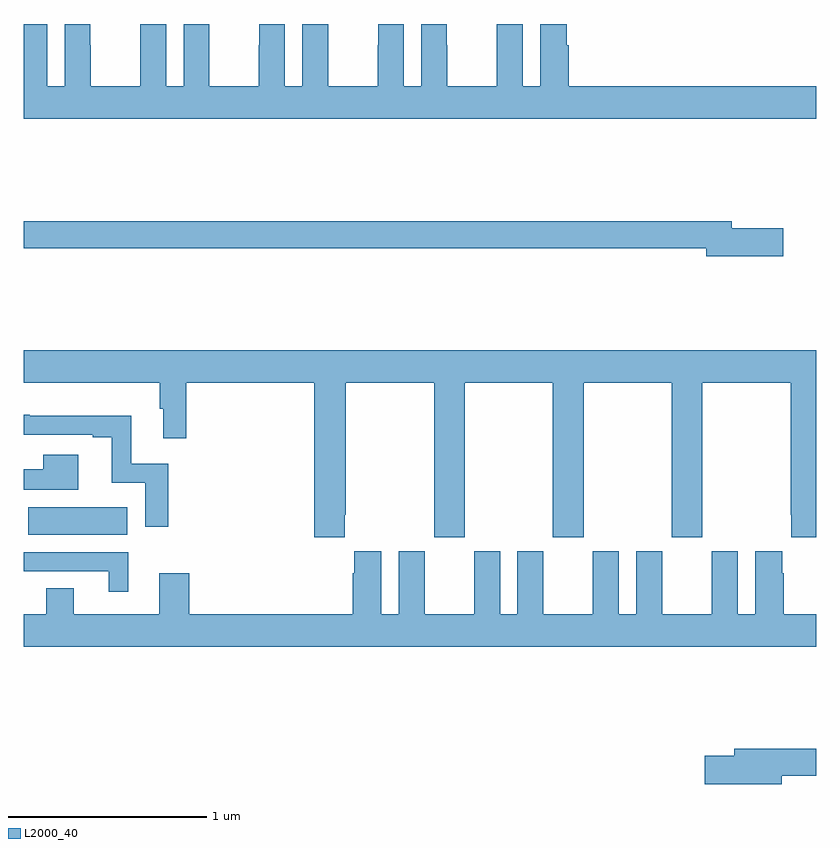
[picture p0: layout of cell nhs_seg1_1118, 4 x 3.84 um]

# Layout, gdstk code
import gdstk
lib = gdstk.Library(unit=1e-6, precision=1e-09)
def R(c, l, rs):  # rectangles x0, y0, x1, y1
    for r in rs: c.add(gdstk.rectangle(r[:2], r[2:], *l))
def P(c, l, *ps):  # polygons
    for p in ps: c.add(gdstk.Polygon(p, *l))
L2000_40 = (2000, 40)

nhs_seg1_1118 = lib.new_cell('nhs_seg1_1118')
R(nhs_seg1_1118, L2000_40, [(171.022,561.62,171.523,561.76)])
P(nhs_seg1_1118, L2000_40, [(173.606,564.199),(173.606,563.884),(173.518,563.884),(173.518,564.199),(173.388,564.199),(173.388,564.092),(173.387,564.092),(173.387,563.884),(173.137,563.884),(173.137,564.092),(173.136,564.092),(173.136,564.199),(173.006,564.199),(173.006,563.884),(172.918,563.884),(172.918,564.199),(172.788,564.199),(172.788,564.092),(172.787,564.092),(172.787,563.884),(172.537,563.884),(172.537,564.092),(172.536,564.092),(172.536,564.199),(172.406,564.199),(172.406,563.884),(172.318,563.884),(172.318,564.199),(172.188,564.199),(172.188,564.092),(172.187,564.092),(172.187,563.884),(171.937,563.884),(171.937,564.092),(171.936,564.092),(171.936,564.199),(171.806,564.199),(171.806,563.884),(171.718,563.884),(171.718,564.199),(171.588,564.199),(171.588,564.092),(171.587,564.092),(171.587,563.884),(171.337,563.884),(171.337,564.092),(171.336,564.092),(171.336,564.199),(171.206,564.199),(171.206,563.884),(171.118,563.884),(171.118,564.199),(171,564.199),(171,563.72),(175,563.72),(175,563.884),(173.75,563.884),(173.75,564.092),(173.74,564.092),(173.74,564.199)],
  [(174.835,563.168),(174.574,563.168),(174.574,563.204),(171,563.204),(171,563.068),(174.446,563.068),(174.446,563.026),(174.835,563.026)],
  [(172.621,561.721),(172.626,561.721),(172.626,562.388),(173.071,562.388),(173.071,561.609),(173.226,561.609),(173.226,562.388),(173.671,562.388),(173.671,561.609),(173.826,561.609),(173.826,562.388),(174.271,562.388),(174.271,561.609),(174.426,561.609),(174.426,562.388),(174.871,562.388),(174.871,561.721),(174.875,561.721),(174.875,561.609),(175,561.609),(175,562.552),(171,562.552),(171,562.388),(171.685,562.388),(171.685,562.256),(171.704,562.256),(171.704,562.107),(171.821,562.107),(171.821,562.388),(172.466,562.388),(172.466,561.609),(172.621,561.609)],
  [(171.728,561.978),(171.541,561.978),(171.541,562.222),(171.029,562.222),(171.029,562.225),(171,562.225),(171,562.125),(171.347,562.125),(171.347,562.113),(171.443,562.113),(171.443,561.882),(171.612,561.882),(171.612,561.66),(171.728,561.66)],
  [(171.274,562.024),(171.098,562.024),(171.098,561.952),(171,561.952),(171,561.848),(171.274,561.848)],
  [(175,561.22),(174.836,561.22),(174.836,561.425),(174.829,561.425),(174.829,561.538),(174.692,561.538),(174.692,561.22),(174.604,561.22),(174.604,561.538),(174.473,561.538),(174.473,561.22),(174.223,561.22),(174.223,561.538),(174.092,561.538),(174.092,561.22),(174.004,561.22),(174.004,561.538),(173.873,561.538),(173.873,561.22),(173.623,561.22),(173.623,561.538),(173.492,561.538),(173.492,561.22),(173.404,561.22),(173.404,561.538),(173.273,561.538),(173.273,561.22),(173.023,561.22),(173.023,561.538),(172.892,561.538),(172.892,561.22),(172.804,561.22),(172.804,561.538),(172.667,561.538),(172.667,561.425),(172.661,561.425),(172.661,561.22),(171.836,561.22),(171.836,561.427),(171.683,561.427),(171.683,561.22),(171.253,561.22),(171.253,561.35),(171.113,561.35),(171.113,561.22),(171,561.22),(171,561.056),(175,561.056)],
  [(171.526,561.531),(171,561.531),(171,561.435),(171.428,561.435),(171.428,561.333),(171.526,561.333)],
  [(174.826,560.404),(175,560.404),(175,560.54),(174.587,560.54),(174.587,560.504),(174.438,560.504),(174.438,560.362),(174.826,560.362)])

lib.write_gds('nhs_seg1_1118.gds')
